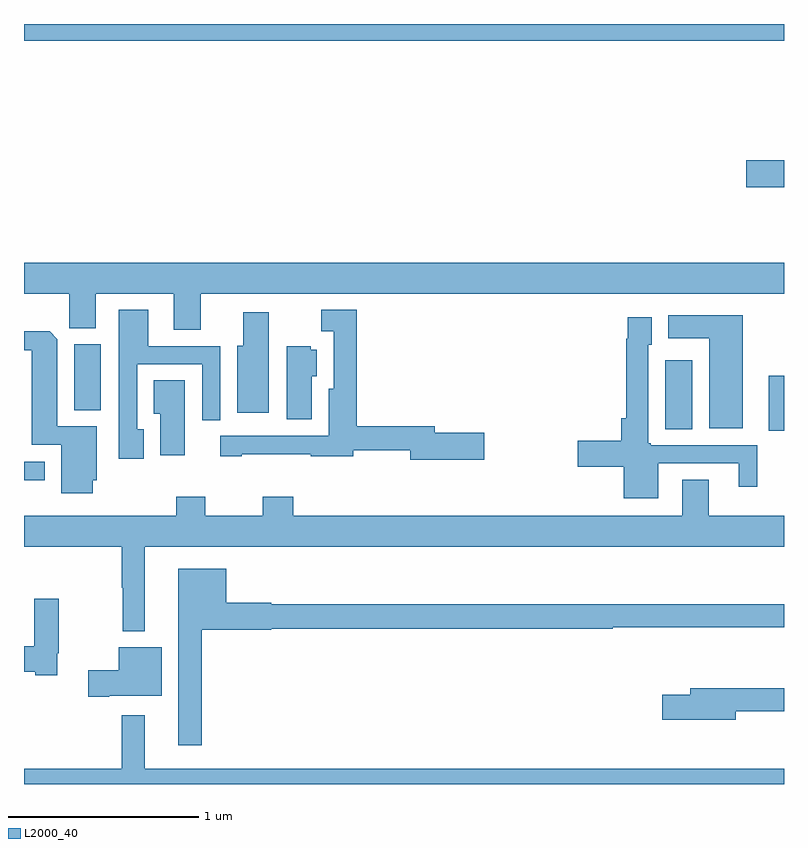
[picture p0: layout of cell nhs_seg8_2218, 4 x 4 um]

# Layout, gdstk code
import gdstk
lib = gdstk.Library(unit=1e-6, precision=1e-09)
def R(c, l, rs):  # rectangles x0, y0, x1, y1
    for r in rs: c.add(gdstk.rectangle(r[:2], r[2:], *l))
def P(c, l, *ps):  # polygons
    for p in ps: c.add(gdstk.Polygon(p, *l))
L2000_40 = (2000, 40)

nhs_seg8_2218 = lib.new_cell('nhs_seg8_2218')
R(nhs_seg8_2218, L2000_40, [(251,1135.5,251.11,1135.596), (254.921,1135.76,255,1136.05), (254.375,1135.768,254.518,1136.131), (251.264,1135.868,251.404,1136.214), (254.802,1137.04,255,1137.182), (251,1137.812,255,1137.9)])
P(nhs_seg8_2218, L2000_40, [(251.929,1136.48),(255,1136.48),(255,1136.644),(251,1136.644),(251,1136.48),(251.239,1136.48),(251.239,1136.299),(251.377,1136.299),(251.377,1136.48),(251.789,1136.48),(251.789,1136.29),(251.929,1136.29)],
  [(251.629,1135.767),(251.595,1135.767),(251.595,1136.109),(251.937,1136.109),(251.937,1135.815),(252.033,1135.815),(252.033,1136.205),(251.653,1136.205),(251.653,1136.395),(251.499,1136.395),(251.499,1135.611),(251.629,1135.611)],
  [(253.423,1135.748),(253.162,1135.748),(253.162,1135.784),(252.751,1135.784),(252.751,1136.395),(252.564,1136.395),(252.564,1136.282),(252.629,1136.282),(252.629,1135.98),(252.605,1135.98),(252.605,1135.734),(252.033,1135.734),(252.033,1135.626),(252.145,1135.626),(252.145,1135.636),(252.509,1135.636),(252.509,1135.626),(252.733,1135.626),(252.733,1135.656),(253.034,1135.656),(253.034,1135.606),(253.423,1135.606)],
  [(252.289,1136.383),(252.155,1136.383),(252.155,1136.206),(252.122,1136.206),(252.122,1135.854),(252.289,1135.854)],
  [(254.782,1136.368),(254.39,1136.368),(254.39,1136.246),(254.606,1136.246),(254.606,1135.772),(254.782,1135.772)],
  [(254.338,1135.587),(254.762,1135.587),(254.762,1135.464),(254.86,1135.464),(254.86,1135.683),(254.298,1135.683),(254.298,1135.693),(254.286,1135.693),(254.286,1136.211),(254.305,1136.211),(254.305,1136.356),(254.178,1136.356),(254.178,1136.243),(254.17,1136.243),(254.17,1135.825),(254.144,1135.825),(254.144,1135.706),(253.914,1135.706),(253.914,1135.571),(254.156,1135.571),(254.156,1135.403),(254.338,1135.403)],
  [(251.361,1135.499),(251.383,1135.499),(251.383,1135.782),(251.176,1135.782),(251.176,1136.24),(251.135,1136.282),(251,1136.282),(251,1136.184),(251.042,1136.184),(251.042,1135.686),(251.195,1135.686),(251.195,1135.431),(251.361,1135.431)],
  [(252.514,1136.046),(252.541,1136.046),(252.541,1136.186),(252.51,1136.186),(252.51,1136.203),(252.383,1136.203),(252.383,1135.819),(252.514,1135.819)],
  [(251.845,1136.024),(251.684,1136.024),(251.684,1135.85),(251.717,1135.85),(251.717,1135.629),(251.845,1135.629)],
  [(251.635,1135.148),(255,1135.148),(255,1135.312),(254.605,1135.312),(254.605,1135.502),(254.465,1135.502),(254.465,1135.312),(252.416,1135.312),(252.416,1135.411),(252.256,1135.411),(252.256,1135.312),(251.955,1135.312),(251.955,1135.411),(251.8,1135.411),(251.8,1135.312),(251,1135.312),(251,1135.148),(251.514,1135.148),(251.514,1134.932),(251.521,1134.932),(251.521,1134.704),(251.635,1134.704)],
  [(251.935,1134.713),(252.3,1134.713),(252.3,1134.718),(254.098,1134.718),(254.098,1134.726),(255,1134.726),(255,1134.847),(252.3,1134.847),(252.3,1134.855),(252.064,1134.855),(252.064,1135.033),(251.813,1135.033),(251.813,1134.105),(251.935,1134.105)],
  [(251.176,1134.589),(251.184,1134.589),(251.184,1134.874),(251.054,1134.874),(251.054,1134.625),(251,1134.625),(251,1134.491),(251.058,1134.491),(251.058,1134.473),(251.176,1134.473)],
  [(251.449,1134.365),(251.725,1134.365),(251.725,1134.619),(251.498,1134.619),(251.498,1134.5),(251.337,1134.5),(251.337,1134.358),(251.449,1134.358)],
  [(254.746,1134.282),(255,1134.282),(255,1134.403),(254.507,1134.403),(254.507,1134.369),(254.358,1134.369),(254.358,1134.239),(254.746,1134.239)],
  [(255,1133.98),(251.635,1133.98),(251.635,1134.262),(251.514,1134.262),(251.514,1133.98),(251,1133.98),(251,1133.9),(255,1133.9)])

lib.write_gds('nhs_seg8_2218.gds')
